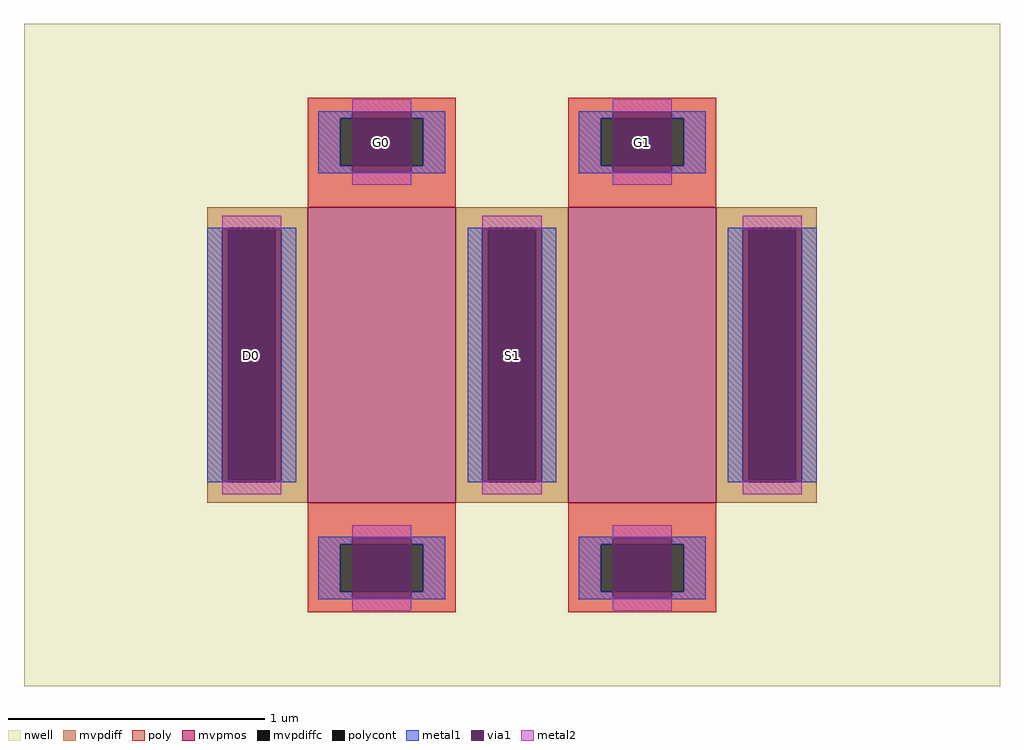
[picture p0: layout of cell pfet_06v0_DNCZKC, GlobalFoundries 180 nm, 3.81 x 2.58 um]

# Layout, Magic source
magic
tech gf180mcuD
magscale 3 26
<< nwell >>
rect -330 -224 330 224
<< mvpmos >>
rect -138 -100 -38 100
rect 38 -100 138 100
<< mvpdiff >>
rect -206 86 -138 100
rect -206 -86 -192 86
rect -160 -86 -138 86
rect -206 -100 -138 -86
rect -38 86 38 100
rect -38 -86 -16 86
rect 16 -86 38 86
rect -38 -100 38 -86
rect 138 86 206 100
rect 138 -86 160 86
rect 192 -86 206 86
rect 138 -100 206 -86
<< mvpdiffc >>
rect -192 -86 -160 86
rect -16 -86 16 86
rect 160 -86 192 86
<< poly >>
rect -138 160 -38 174
rect -138 128 -116 160
rect -60 128 -38 160
rect -138 100 -38 128
rect 38 160 138 174
rect 38 128 60 160
rect 116 128 138 160
rect 38 100 138 128
rect -138 -128 -38 -100
rect -138 -160 -116 -128
rect -60 -160 -38 -128
rect -138 -174 -38 -160
rect 38 -128 138 -100
rect 38 -160 60 -128
rect 116 -160 138 -128
rect 38 -174 138 -160
<< polycont >>
rect -116 128 -60 160
rect 60 128 116 160
rect -116 -160 -60 -128
rect 60 -160 116 -128
<< metal1 >>
rect -131 164 -45 165
rect -131 160 -108 164
rect -68 160 -45 164
rect -131 128 -116 160
rect -60 128 -45 160
rect -131 124 -108 128
rect -68 124 -45 128
rect -131 123 -45 124
rect 45 164 131 165
rect 45 160 68 164
rect 108 160 131 164
rect 45 128 60 160
rect 116 128 131 160
rect 45 124 68 128
rect 108 124 131 128
rect 45 123 131 124
rect -206 85 -192 86
rect -160 85 -146 86
rect -206 -85 -196 85
rect -156 -85 -146 85
rect -206 -86 -192 -85
rect -160 -86 -146 -85
rect -30 85 -16 86
rect 16 85 30 86
rect -30 -85 -20 85
rect 20 -85 30 85
rect -30 -86 -16 -85
rect 16 -86 30 -85
rect 146 85 160 86
rect 192 85 206 86
rect 146 -85 156 85
rect 196 -85 206 85
rect 146 -86 160 -85
rect 192 -86 206 -85
rect -131 -124 -45 -123
rect -131 -128 -108 -124
rect -68 -128 -45 -124
rect -131 -160 -116 -128
rect -60 -160 -45 -128
rect -131 -164 -108 -160
rect -68 -164 -45 -160
rect -131 -165 -45 -164
rect 45 -124 131 -123
rect 45 -128 68 -124
rect 108 -128 131 -124
rect 45 -160 60 -128
rect 116 -160 131 -128
rect 45 -164 68 -160
rect 108 -164 131 -160
rect 45 -165 131 -164
<< via1 >>
rect -108 160 -68 164
rect -108 128 -68 160
rect -108 124 -68 128
rect 68 160 108 164
rect 68 128 108 160
rect 68 124 108 128
rect -196 -85 -192 85
rect -192 -85 -160 85
rect -160 -85 -156 85
rect -20 -85 -16 85
rect -16 -85 16 85
rect 16 -85 20 85
rect 156 -85 160 85
rect 160 -85 192 85
rect 192 -85 196 85
rect -108 -128 -68 -124
rect -108 -160 -68 -128
rect -108 -164 -68 -160
rect 68 -128 108 -124
rect 68 -160 108 -128
rect 68 -164 108 -160
<< metal2 >>
rect -108 164 -68 173
rect -108 115 -68 124
rect 68 164 108 173
rect 68 115 108 124
rect -196 85 -156 94
rect -196 -94 -156 -85
rect -20 85 20 94
rect -20 -94 20 -85
rect 156 85 196 94
rect 156 -94 196 -85
rect -108 -124 -68 -115
rect -108 -173 -68 -164
rect 68 -124 108 -115
rect 68 -173 108 -164
<< labels >>
rlabel mvpdiffc -176 0 -176 0 0 D0
port 1 nsew
rlabel polycont -88 144 -88 144 0 G0
port 2 nsew
rlabel mvpdiffc 0 0 0 0 0 S1
port 3 nsew
rlabel polycont 88 144 88 144 0 G1
port 4 nsew
<< properties >>
string gencell pfet_05v0
string library gf180mcu
string parameters w 1.0 l 0.5 m 1 ng 2 diffcov 100 polycov 100 guard 0 glc 1 grc 1 gtc 1 gbc 1 tbcov 100 rlcov 100 topc 1 botc 1 poverlap 0 doverlap 1 lmin 0.4 wmin 0.15 class mosfet compatible {pfet_05v0 pfet_06v0} full_metal 1 conn_gates 0 gate_ring 0 ccols 1 viasrc 100 viadrn 100 viagate 70 viagb 0 viagr 0 viagl 0 viagt 0 doports 1
<< end >>
